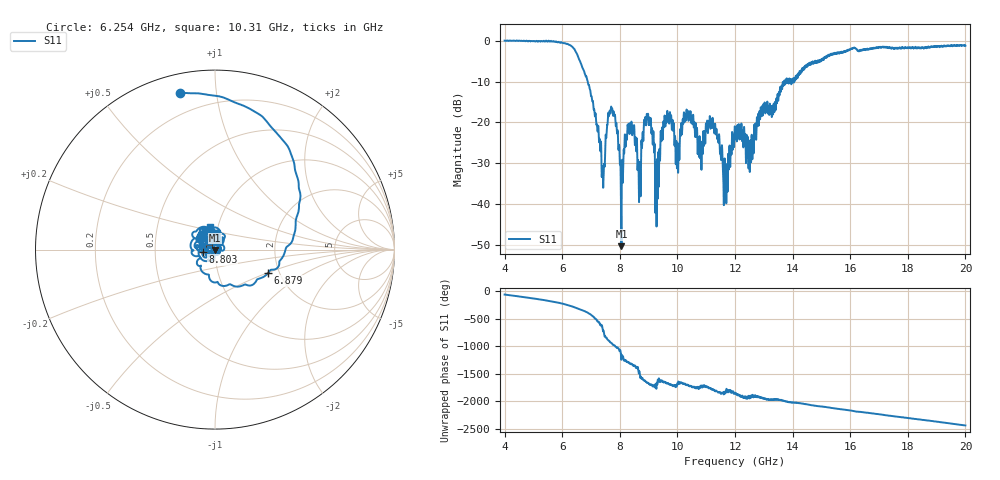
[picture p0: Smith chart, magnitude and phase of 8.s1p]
[Version] 2.0
! Rohde & Schwarz Vector Network Analyzer
! Rohde-Schwarz,ZNL20-2Port,1323001220200009,1.71.1.10-23.02.1.238
! Port Assignments:
! Nominal Port -> Actual Test Port
!  1 -> 1
! Created: GMT+2 2025-01-17 12:46:26
# Hz S RI R 50
[Number of Ports] 1
! freq[Hz]  S11[Re]  S11[Im]
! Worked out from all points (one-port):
!   16001 points, 4 GHz to 20 GHz, reference 50 ohm
!   lowest |S11| = -50.3 dB at 8.057 GHz (marker M1), VSWR 1.01, Z = 49.8 - j0.245 ohm
!   |S11| at or under -10 dB: 6.886 GHz to 13.7 GHz (6.812 GHz wide, 66.2 % of centre); 13.71197 GHz to 13.73988 GHz (27.91 MHz wide, 0.203 % of centre); 13.94137 GHz to 13.96409 GHz (22.72 MHz wide, 0.163 % of centre)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
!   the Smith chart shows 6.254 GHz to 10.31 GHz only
!   S11 on the Smith chart (normalised r, x): 6.254 GHz: 0.09, +0.80; 6.879 GHz: 1.75, -0.51; 8.803 GHz: 0.87, -0.02; 10.31 GHz: 0.91, +0.23
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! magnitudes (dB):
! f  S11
! 4 GHz  0.0
! 6 GHz  -0.5
! 6.254 GHz  -1.0
! 6.879 GHz  -9.8
! 7.402 GHz  -31.0
! 7.718 GHz  -16.7
! 7.863 GHz  -20.9
! 8 GHz  -29.9
! 8.057 GHz  -50.3
! 8.335 GHz  -22.7
! 8.665 GHz  -38.5
! 8.803 GHz  -23.0
! 9.009 GHz  -20.5
! 9.296 GHz  -29.1
! 9.489 GHz  -24.1
! 9.713 GHz  -20.2
! 10 GHz  -25.4
! 10.31 GHz  -17.8
! 10.78 GHz  -23.9
! 11.24 GHz  -21.3
! 11.67 GHz  -31.0
! 12 GHz  -21.5
! 12.54 GHz  -24.4
! 12.96 GHz  -18.3
! 14 GHz  -10.2
! 16 GHz  -2.0
! 18 GHz  -1.6
! 20 GHz  -1.2
